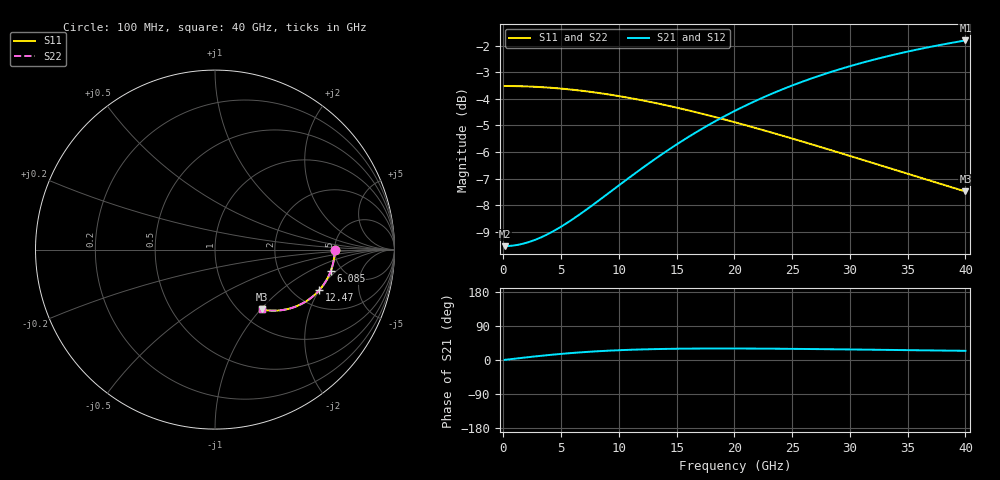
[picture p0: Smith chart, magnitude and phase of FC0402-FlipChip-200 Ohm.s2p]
!Vishay Thin-Film
!FC Family
!Case Size 0402
!Assembly Style Flip-Chip
!10/21/2015
!thinfilm@vishay.com
# GHz S MA R 50
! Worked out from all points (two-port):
!   101 points, 100 MHz to 40 GHz, reference 50 ohm
!   highest |S21| = -1.81 dB at 40 GHz (marker M1); lowest = -9.5 dB at 100 MHz (marker M2)
!   |S21| within 3 dB of the highest: 18.49 GHz to end of sweep
!   lowest |S11| = -7.5 dB at 40 GHz (marker M3), VSWR 2.46, Z = 62.3 - j50.5 ohm
!   |S11| at or under -10 dB: nowhere
!   |S22| runs from -7.5 to -3.5 dB; largest |S21 - S12| = 0
!   S11 on the Smith chart (normalised r, x): 100 MHz: 5.00, -0.04; 6.085 GHz: 4.04, -1.72; 12.47 GHz: 2.71, -2.00; 40 GHz: 1.25, -1.01
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0.1  0.6667 -0.2  0.3333 0.4  0.3333 0.4  0.6667 -0.2
1.297  0.6662 -2.3  0.3354 4.6  0.3354 4.6  0.6662 -2.3
2.095  0.6653 -3.7  0.3388 7.3  0.3388 7.3  0.6653 -3.7
2.893  0.6641 -5.1  0.3436 9.9  0.3436 9.9  0.6641 -5.1
4.489  0.6606 -7.9  0.3574 14.7  0.3574 14.7  0.6606 -7.9
6.085  0.6557 -10.7  0.3757 18.8  0.3757 18.8  0.6557 -10.7
6.883  0.6527 -12.0  0.3863 20.6  0.3863 20.6  0.6527 -12.0
9.676  0.6398 -16.7  0.4284 25.4  0.4284 25.4  0.6398 -16.7
12.469  0.6238 -21.1  0.4749 28.3  0.4749 28.3  0.6238 -21.1
13.666  0.6161 -23.0  0.4952 29.1  0.4952 29.1  0.6161 -23.0
15.262  0.6052 -25.4  0.5221 29.8  0.5221 29.8  0.6052 -25.4
16.858  0.5938 -27.7  0.5486 30.2  0.5486 30.2  0.5938 -27.7
18.454  0.5819 -29.9  0.5742 30.3  0.5742 30.3  0.5819 -29.9
20.05  0.5697 -32.0  0.5989 30.3  0.5989 30.3  0.5697 -32.0
21.646  0.5574 -34.1  0.6224 30.1  0.6224 30.1  0.5574 -34.1
23.242  0.5449 -36.0  0.6448 29.8  0.6448 29.8  0.5449 -36.0
24.838  0.5324 -37.9  0.666 29.4  0.666 29.4  0.5324 -37.9
26.833  0.5168 -40.2  0.6908 28.9  0.6908 28.9  0.5168 -40.2
30.025  0.4924 -43.5  0.7266 27.8  0.7266 27.8  0.4924 -43.5
33.616  0.4659 -46.9  0.7616 26.5  0.7616 26.5  0.4659 -46.9
36.808  0.4435 -49.6  0.7885 25.4  0.7885 25.4  0.4435 -49.6
40  0.4224 -52.1  0.8119 24.2  0.8119 24.2  0.4224 -52.1
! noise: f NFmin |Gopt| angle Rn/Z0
0.1  6.75e-15  1  6.989e-17  4
4.489  -4.822e-15  1  -3.649e-15  3.413
8.878  3.857e-15  1  5.782e-15  2.387
13.27  3.857e-15  1  2.1e-15  1.587
17.66  3.857e-15  1  -8.538e-07  1.076
22.05  0  1  -1.207e-06  0.7559
26.43  9.643e-16  1  -1.207e-06  0.5507
30.82  0  1  -2.491e-14  0.4139
35.21  -4.822e-16  1  -2.071e-14  0.3192
40  0  1  3.428e-14  0.2463
